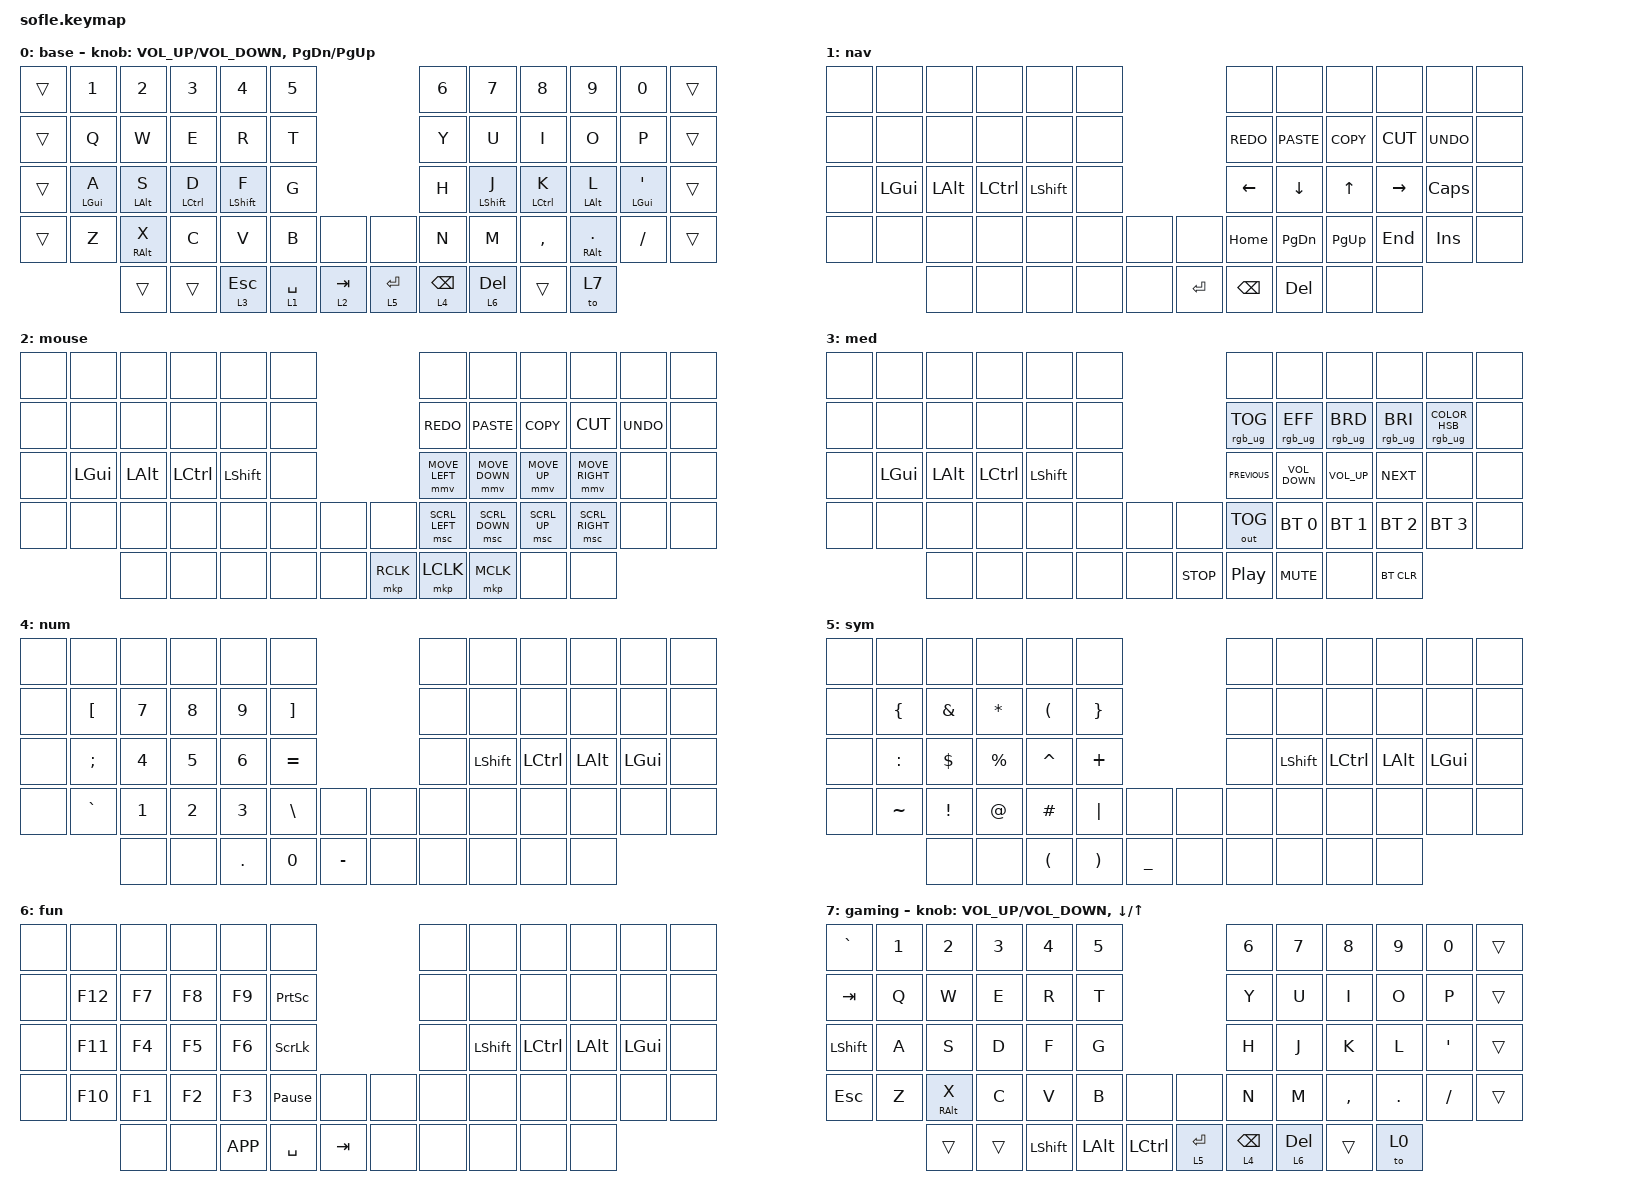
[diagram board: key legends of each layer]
#include <dt-bindings/zmk/mouse.h>
#include <behaviors.dtsi>
#include <dt-bindings/zmk/bt.h>
#include <dt-bindings/zmk/keys.h>
#include <dt-bindings/zmk/outputs.h>
#include <dt-bindings/zmk/pointing.h>
#include <dt-bindings/zmk/rgb.h>

&mt {
    tapping-term-ms = <300>;
    flavor = "balanced";
};

/ {
    keymap {
        compatible = "zmk,keymap";

        base {
            label = "base";
            bindings = <
&trans  &kp N1      &kp N2           &kp N3       &kp N4        &kp N5                                 &kp N6           &kp N7       &kp N8       &kp N9             &kp N0                 &trans
&trans  &kp Q       &kp W            &kp E        &kp R         &kp T                                  &kp Y            &kp U        &kp I        &kp O              &kp P                  &trans
&trans  &mt LGUI A  &mt LALT S       &mt LCTRL D  &mt LSHFT F   &kp G                                  &kp H            &mt LSHFT J  &mt LCTRL K  &mt LALT L         &mt LGUI SINGLE_QUOTE  &trans
&trans  &kp Z       &mt RIGHT_ALT X  &kp C        &kp V         &kp B        &none        &none        &kp N            &kp M        &kp COMMA    &mt RIGHT_ALT DOT  &kp FSLH               &trans
                    &trans           &trans       &lt 3 ESCAPE  &lt 1 SPACE  &lt 2 TAB    &lt 5 ENTER  &lt 4 BACKSPACE  &lt 6 DEL    &trans       &to 7
            >;

            sensor-bindings = 
                <&inc_dec_kp C_VOLUME_UP C_VOLUME_DOWN>,
                <&inc_dec_kp PAGE_DOWN PAGE_UP>;
        };

        navigation {
            label = "nav";
            bindings = <
&none  &none     &none     &none      &none      &none                      &none          &none          &none        &none        &none          &none
&none  &none     &none     &none      &none      &none                      &kp K_REDO     &kp K_PASTE    &kp K_COPY   &kp K_CUT    &kp K_UNDO     &none
&none  &kp LGUI  &kp LALT  &kp LCTRL  &kp LSHFT  &none                      &kp LEFT       &kp DOWN       &kp UP       &kp RIGHT    &kp CAPSLOCK   &none
&none  &none     &none     &none      &none      &none  &none    &none      &kp HOME       &kp PAGE_DOWN  &kp PAGE_UP  &kp END      &kp INSERT     &none
                 &none     &none      &none      &none  &none    &kp ENTER  &kp BACKSPACE  &kp DELETE     &none        &none
            >;
        };

        mouse {
            label = "mouse";
            bindings = <
&none  &none     &none     &none      &none       &none                      &none            &none           &none         &none            &none       &none
&none  &none     &none     &none      &none       &none                      &kp K_REDO       &kp K_PASTE     &kp K_COPY    &kp K_CUT        &kp K_UNDO  &none
&none  &kp LGUI  &kp LALT  &kp LCTRL  &kp LSHIFT  &none                      &mmv MOVE_LEFT   &mmv MOVE_DOWN  &mmv MOVE_UP  &mmv MOVE_RIGHT  &none       &none
&none  &none     &none     &none      &none       &none  &none    &none      &msc SCRL_LEFT   &msc SCRL_DOWN  &msc SCRL_UP  &msc SCRL_RIGHT  &none       &none
                 &none     &none      &none       &none  &none    &mkp RCLK  &mkp LCLK        &mkp MCLK       &none         &none
            >;
        };

        media {
            label = "med";
            bindings = <
&none  &none     &none     &none      &none      &none                       &none            &none              &none            &none       &none                             &none
&none  &none     &none     &none      &none      &none                       &rgb_ug RGB_TOG  &rgb_ug RGB_EFF    &rgb_ug RGB_BRD  &rgb_ug RGB_BRI  &rgb_ug RGB_COLOR_HSB(107,37,36)  &none
&none  &kp LGUI  &kp LALT  &kp LCTRL  &kp LSHFT  &none                       &kp C_PREVIOUS   &kp C_VOLUME_DOWN  &kp C_VOLUME_UP  &kp C_NEXT  &none                             &none
&none  &none     &none     &none      &none      &none  &none    &none       &out OUT_TOG     &bt BT_SEL 0       &bt BT_SEL 1     &bt BT_SEL 2     &bt BT_SEL 3                      &none
                 &none     &none      &none      &none  &none    &kp C_STOP  &kp C_PLAY_PAUSE &kp C_MUTE         &none            &bt BT_CLR
            >;
        };

        numbers {
            label = "num";
            bindings = <
&none  &none             &none         &none         &none         &none                                  &none  &none      &none      &none     &none     &none
&none  &kp LEFT_BRACKET  &kp N7        &kp N8        &kp N9        &kp RIGHT_BRACKET                      &none  &none      &none      &none     &none     &none
&none  &kp SEMICOLON     &kp NUMBER_4  &kp N5        &kp NUMBER_6  &kp EQUAL                              &none  &kp LSHFT  &kp LCTRL  &kp LALT  &kp LGUI  &none
&none  &kp GRAVE         &kp NUMBER_1  &kp NUMBER_2  &kp NUMBER_3  &kp BACKSLASH      &none        &none  &none  &none      &none      &none     &none     &none
                         &none         &none         &kp PERIOD    &kp N0             &kp MINUS    &none  &none  &none      &none      &none
            >;
        };

        symbols {
            label = "sym";
            bindings = <
&none  &none           &none            &none         &none                 &none                                           &none  &none      &none      &none     &none     &none
&none  &kp LEFT_BRACE  &kp AMPERSAND    &kp ASTERISK  &kp LEFT_PARENTHESIS  &kp RIGHT_BRACE                                 &none  &none      &none      &none     &none     &none
&none  &kp COLON       &kp DOLLAR       &kp PERCENT   &kp CARET             &kp PLUS                                        &none  &kp LSHFT  &kp LCTRL  &kp LALT  &kp LGUI  &none
&none  &kp TILDE       &kp EXCLAMATION  &kp AT_SIGN   &kp POUND             &kp PIPE               &none             &none  &none  &none      &none      &none     &none     &none
                       &none            &none         &kp LEFT_PARENTHESIS  &kp RIGHT_PARENTHESIS  &kp UNDERSCORE    &none  &none  &none      &none      &none
            >;
        };

        function {
            label = "fun";
            bindings = <
&none  &none    &none   &none   &none      &none                              &none  &none      &none      &none     &none     &none
&none  &kp F12  &kp F7  &kp F8  &kp F9     &kp PRINTSCREEN                    &none  &none      &none      &none     &none     &none
&none  &kp F11  &kp F4  &kp F5  &kp F6     &kp SCROLLLOCK                     &none  &kp LSHFT  &kp LCTRL  &kp LALT  &kp LGUI  &none
&none  &kp F10  &kp F1  &kp F2  &kp F3     &kp PAUSE_BREAK  &none      &none  &none  &none      &none      &none     &none     &none
                &none   &none   &kp K_APP  &kp SPACE        &kp TAB    &none  &none  &none      &none      &none
            >;
        };

        gaming {
            label = "gaming";
            bindings = <
&kp GRAVE   &kp N1  &kp N2           &kp N3  &kp N4     &kp N5                              &kp N6           &kp N7     &kp N8     &kp N9      &kp N0      &trans
&kp TAB     &kp Q   &kp W            &kp E   &kp R      &kp T                               &kp Y            &kp U      &kp I      &kp O       &kp P       &trans
&kp LSHFT   &kp A   &kp S            &kp D   &kp F      &kp G                               &kp H            &kp J      &kp K      &kp L       &kp SQT     &trans
&kp ESCAPE  &kp Z   &mt RIGHT_ALT X  &kp C   &kp V      &kp B     &none        &none        &kp N            &kp M      &kp COMMA  &kp PERIOD  &kp FSLH    &trans
                    &trans           &trans  &kp LSHFT  &kp LALT  &kp LCTRL    &lt 5 ENTER  &lt 4 BACKSPACE  &lt 6 DEL  &trans     &to 0
            >;

            sensor-bindings = 
                <&inc_dec_kp C_VOLUME_UP C_VOLUME_DOWN>,
                <&inc_dec_kp DOWN_ARROW UP_ARROW>;
        };
    };
};
